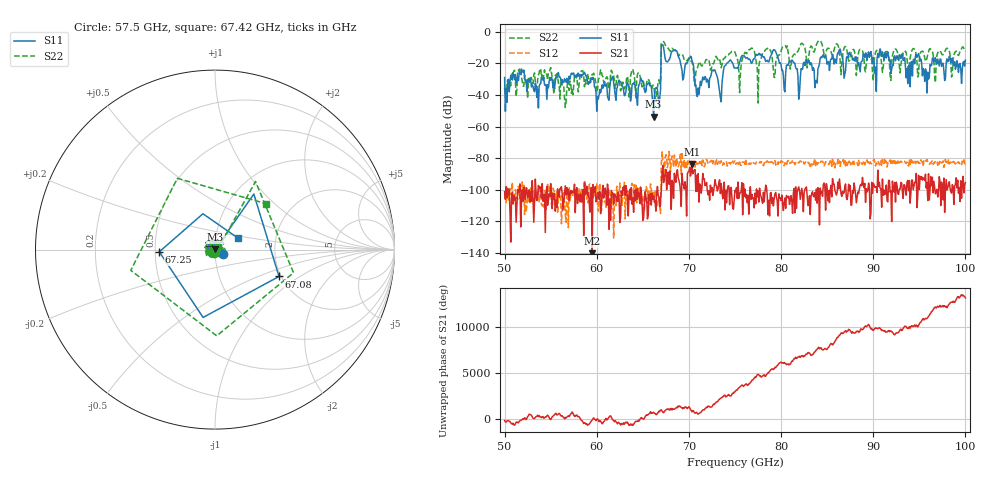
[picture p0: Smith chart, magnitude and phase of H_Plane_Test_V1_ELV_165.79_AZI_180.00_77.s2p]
! 11/27/2026 8:53:37 AM
! C:\ANRITSUVNA\TEMP\TEMP.S2P
! CHANNEL.1
! TR.MEASUREMENT
! RAW.DATA
# HZ S RI R 50.0
! FREQ.HZ  S11RE  S11IM  S21RE  S21IM  S12RE  S12IM  S22RE  S22IM
!; PortSelection: Port_12
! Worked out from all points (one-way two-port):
!   601 points, 50 GHz to 100 GHz, reference 50 ohm
!   highest |S21| = -83.71 dB at 70.33 GHz (marker M1); lowest = -140.0 dB at 59.5 GHz (marker M2)
!   lowest |S11| = -53.7 dB at 66.17 GHz (marker M3), VSWR 1.00, Z = 50.1 + j0.154 ohm
!   |S11| at or under -10 dB: start of sweep to 67 GHz; 67.24 GHz to end of sweep
!   |S22| runs from -47.9 to -5.6 dB; largest |S21 - S12| = 0.00018
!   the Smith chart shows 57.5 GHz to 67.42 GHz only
!   S11 on the Smith chart (normalised r, x): 57.5 GHz: 1.09, -0.05; 67.08 GHz: 1.95, -0.69; 67.25 GHz: 0.53, -0.01; 67.42 GHz: 1.29, +0.17
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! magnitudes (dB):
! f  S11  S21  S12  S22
! 50 GHz  -29.0  -101.2  -103.1  -35.7
! 51.67 GHz  -26.2  -96.2  -106.1  -23.2
! 53.42 GHz  -34.7  -102.4  -101.8  -35.2
! 57.5 GHz  -26.1  -102.0  -100.4  -34.5
! 58.42 GHz  -27.2  -106.6  -100.0  -24.7
! 59.5 GHz  -30.3  -140.0  -99.0  -27.0
! 66.17 GHz  -53.7  -103.8  -101.7  -34.0
! 66.67 GHz  -41.8  -103.7  -106.3  -31.6
! 67.08 GHz  -8.2  -89.2  -76.0  -6.8
! 67.25 GHz  -10.2  -95.4  -82.4  -6.3
! 67.42 GHz  -16.8  -90.3  -79.6  -8.4
! 70.33 GHz  -18.4  -83.7  -81.9  -19.2
! 70.92 GHz  -41.1  -101.0  -83.9  -23.1
! 75 GHz  -23.1  -100.3  -81.8  -13.0
! 79.25 GHz  -11.4  -105.6  -83.1  -29.0
! 80.25 GHz  -27.9  -113.1  -83.7  -9.3
! 83.42 GHz  -24.5  -101.2  -84.4  -10.9
! 91.67 GHz  -16.5  -94.0  -81.5  -15.3
! 93.75 GHz  -32.9  -94.1  -84.1  -21.5
! 94.83 GHz  -15.0  -103.6  -81.9  -28.7
! 95.83 GHz  -38.7  -95.3  -80.9  -16.6
! 100 GHz  -17.9  -95.4  -83.8  -12.6
